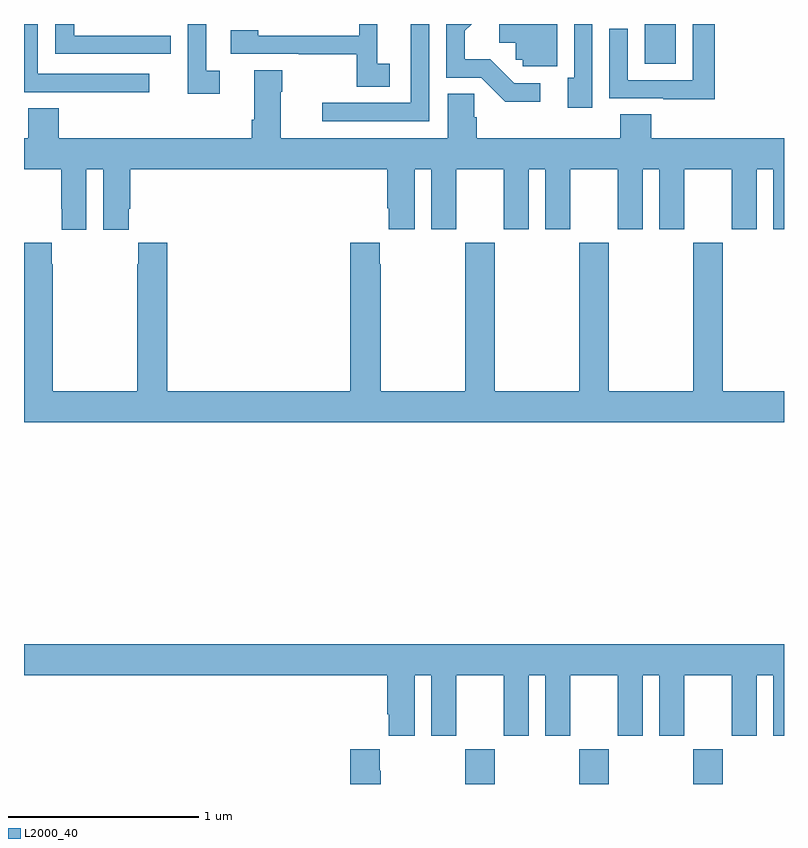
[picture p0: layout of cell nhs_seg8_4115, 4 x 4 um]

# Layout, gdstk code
import gdstk
lib = gdstk.Library(unit=1e-6, precision=1e-09)
def R(c, l, rs):  # rectangles x0, y0, x1, y1
    for r in rs: c.add(gdstk.rectangle(r[:2], r[2:], *l))
def A(c, l, x, y, w, h, nx, ny, dx, dy):  # array of equal rectangles
    R(c, l, [(x+i*dx, y+j*dy, x+i*dx+w, y+j*dy+h) for i in range(nx) for j in range(ny)])
def P(c, l, *ps):  # polygons
    for p in ps: c.add(gdstk.Polygon(p, *l))
L2000_40 = (2000, 40)

nhs_seg8_4115 = lib.new_cell('nhs_seg8_4115')
A(nhs_seg8_4115, L2000_40, 365.323, 1143.9, 0.155, 0.184, 3, 1, 0.6, 0)
R(nhs_seg8_4115, L2000_40, [(366.266,1147.69,366.43,1147.9)])
P(nhs_seg8_4115, L2000_40, [(363.658,1147.638),(363.072,1147.638),(363.072,1147.9),(363,1147.9),(363,1147.542),(363.265,1147.542),(363.265,1147.54),(363.658,1147.54)],
  [(366.635,1147.9),(366.519,1147.9),(366.519,1147.605),(366.177,1147.605),(366.177,1147.876),(366.081,1147.876),(366.081,1147.509),(366.365,1147.509),(366.365,1147.505),(366.635,1147.505)],
  [(364.03,1147.653),(363.958,1147.653),(363.958,1147.9),(363.861,1147.9),(363.861,1147.533),(364.03,1147.533)],
  [(365.716,1147.587),(365.58,1147.587),(365.453,1147.714),(365.32,1147.714),(365.32,1147.864),(365.356,1147.9),(365.223,1147.9),(365.223,1147.617),(365.406,1147.617),(365.534,1147.49),(365.716,1147.49)],
  [(365.133,1147.9),(365.036,1147.9),(365.036,1147.485),(364.569,1147.485),(364.569,1147.389),(365.133,1147.389)],
  [(365.991,1147.9),(365.895,1147.9),(365.895,1147.618),(365.861,1147.618),(365.861,1147.458),(365.991,1147.458)],
  [(365.806,1147.9),(365.502,1147.9),(365.502,1147.802),(365.589,1147.802),(365.589,1147.713),(365.625,1147.713),(365.625,1147.677),(365.806,1147.677)],
  [(364.924,1147.692),(364.86,1147.692),(364.86,1147.9),(364.764,1147.9),(364.764,1147.839),(364.233,1147.839),(364.233,1147.867),(364.089,1147.867),(364.089,1147.743),(364.447,1147.743),(364.447,1147.741),(364.752,1147.741),(364.752,1147.57),(364.924,1147.57)],
  [(363.772,1147.838),(363.659,1147.838),(363.659,1147.839),(363.264,1147.839),(363.264,1147.9),(363.165,1147.9),(363.165,1147.743),(363.772,1147.743)],
  [(363.328,1147.136),(363.416,1147.136),(363.416,1146.816),(363.55,1146.816),(363.55,1146.928),(363.56,1146.928),(363.56,1147.136),(364.913,1147.136),(364.913,1146.931),(364.919,1146.931),(364.919,1146.819),(365.056,1146.819),(365.056,1147.136),(365.144,1147.136),(365.144,1146.819),(365.275,1146.819),(365.275,1147.136),(365.525,1147.136),(365.525,1146.819),(365.656,1146.819),(365.656,1147.136),(365.744,1147.136),(365.744,1146.819),(365.875,1146.819),(365.875,1147.136),(366.125,1147.136),(366.125,1146.819),(366.256,1146.819),(366.256,1147.136),(366.344,1147.136),(366.344,1146.819),(366.475,1146.819),(366.475,1147.136),(366.725,1147.136),(366.725,1146.819),(366.856,1146.819),(366.856,1147.136),(366.944,1147.136),(366.944,1146.819),(367,1146.819),(367,1147.3),(366.302,1147.3),(366.302,1147.424),(366.137,1147.424),(366.137,1147.3),(365.384,1147.3),(365.384,1147.41),(365.369,1147.41),(365.369,1147.532),(365.231,1147.532),(365.231,1147.3),(364.351,1147.3),(364.351,1147.544),(364.359,1147.544),(364.359,1147.657),(364.211,1147.657),(364.211,1147.396),(364.199,1147.396),(364.199,1147.3),(363.182,1147.3),(363.182,1147.457),(363.022,1147.457),(363.022,1147.3),(363,1147.3),(363,1147.136),(363.197,1147.136),(363.197,1146.928),(363.198,1146.928),(363.198,1146.816),(363.328,1146.816)],
  [(367,1145.968),(366.678,1145.968),(366.678,1146.748),(366.523,1146.748),(366.523,1145.968),(366.078,1145.968),(366.078,1146.748),(365.923,1146.748),(365.923,1145.968),(365.478,1145.968),(365.478,1146.748),(365.323,1146.748),(365.323,1145.968),(364.878,1145.968),(364.878,1146.635),(364.873,1146.635),(364.873,1146.748),(364.718,1146.748),(364.718,1145.968),(363.755,1145.968),(363.755,1146.748),(363.601,1146.748),(363.601,1146.635),(363.595,1146.635),(363.595,1145.968),(363.15,1145.968),(363.15,1146.635),(363.147,1146.635),(363.147,1146.748),(363,1146.748),(363,1145.804),(367,1145.804)],
  [(365.056,1144.472),(365.144,1144.472),(365.144,1144.155),(365.275,1144.155),(365.275,1144.472),(365.525,1144.472),(365.525,1144.155),(365.656,1144.155),(365.656,1144.472),(365.744,1144.472),(365.744,1144.155),(365.875,1144.155),(365.875,1144.472),(366.125,1144.472),(366.125,1144.155),(366.256,1144.155),(366.256,1144.472),(366.344,1144.472),(366.344,1144.155),(366.475,1144.155),(366.475,1144.472),(366.725,1144.472),(366.725,1144.155),(366.856,1144.155),(366.856,1144.472),(366.944,1144.472),(366.944,1144.155),(367,1144.155),(367,1144.636),(363,1144.636),(363,1144.472),(364.913,1144.472),(364.913,1144.267),(364.919,1144.267),(364.919,1144.155),(365.056,1144.155)],
  [(364.878,1143.971),(364.873,1143.971),(364.873,1144.084),(364.718,1144.084),(364.718,1143.9),(364.878,1143.9)])

lib.write_gds('nhs_seg8_4115.gds')
